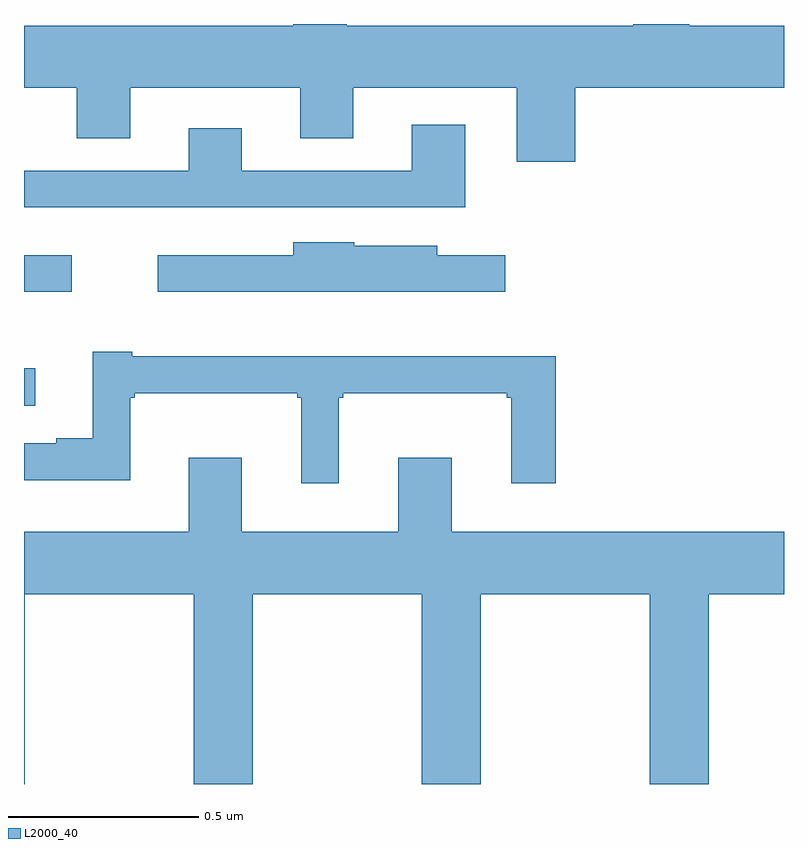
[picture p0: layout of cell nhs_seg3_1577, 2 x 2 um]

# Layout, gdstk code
import gdstk
lib = gdstk.Library(unit=1e-6, precision=1e-09)
def R(c, l, rs):  # rectangles x0, y0, x1, y1
    for r in rs: c.add(gdstk.rectangle(r[:2], r[2:], *l))
def P(c, l, *ps):  # polygons
    for p in ps: c.add(gdstk.Polygon(p, *l))
L2000_40 = (2000, 40)

nhs_seg3_1577 = lib.new_cell('nhs_seg3_1577')
R(nhs_seg3_1577, L2000_40, [(130,717.396,130.03,717.494), (130,717.695,130.126,717.792)])
P(nhs_seg3_1577, L2000_40, [(131.45,718.232),(132,718.232),(132,718.396),(131.751,718.396),(131.751,718.4),(131.603,718.4),(131.603,718.396),(130.849,718.396),(130.849,718.4),(130.709,718.4),(130.709,718.396),(130,718.396),(130,718.232),(130.139,718.232),(130.139,718.099),(130.279,718.099),(130.279,718.232),(130.727,718.232),(130.727,718.099),(130.867,718.099),(130.867,718.232),(131.297,718.232),(131.297,718.038),(131.45,718.038)],
  [(131.161,718.135),(131.021,718.135),(131.021,718.014),(130.573,718.014),(130.573,718.126),(130.433,718.126),(130.433,718.014),(130,718.014),(130,717.918),(131.161,717.918)],
  [(131.266,717.792),(131.088,717.792),(131.088,717.817),(130.869,717.817),(130.869,717.826),(130.709,717.826),(130.709,717.792),(130.352,717.792),(130.352,717.695),(131.266,717.695)],
  [(130.828,717.417),(130.84,717.417),(130.84,717.428),(131.271,717.428),(131.271,717.417),(131.282,717.417),(131.282,717.192),(131.399,717.192),(131.399,717.526),(130.285,717.526),(130.285,717.538),(130.181,717.538),(130.181,717.31),(130.085,717.31),(130.085,717.297),(130,717.297),(130,717.2),(130.279,717.2),(130.279,717.417),(130.291,717.417),(130.291,717.428),(130.719,717.428),(130.719,717.417),(130.73,717.417),(130.73,717.192),(130.828,717.192)],
  [(131.047,716.4),(131.202,716.4),(131.202,716.9),(131.647,716.9),(131.647,716.4),(131.802,716.4),(131.802,716.9),(132,716.9),(132,717.064),(131.125,717.064),(131.125,717.259),(130.985,717.259),(130.985,717.064),(130.573,717.064),(130.573,717.259),(130.433,717.259),(130.433,717.064),(130,717.064),(130,716.4),(130.002,716.4),(130.002,716.9),(130.447,716.9),(130.447,716.4),(130.602,716.4),(130.602,716.9),(131.047,716.9)])

lib.write_gds('nhs_seg3_1577.gds')
